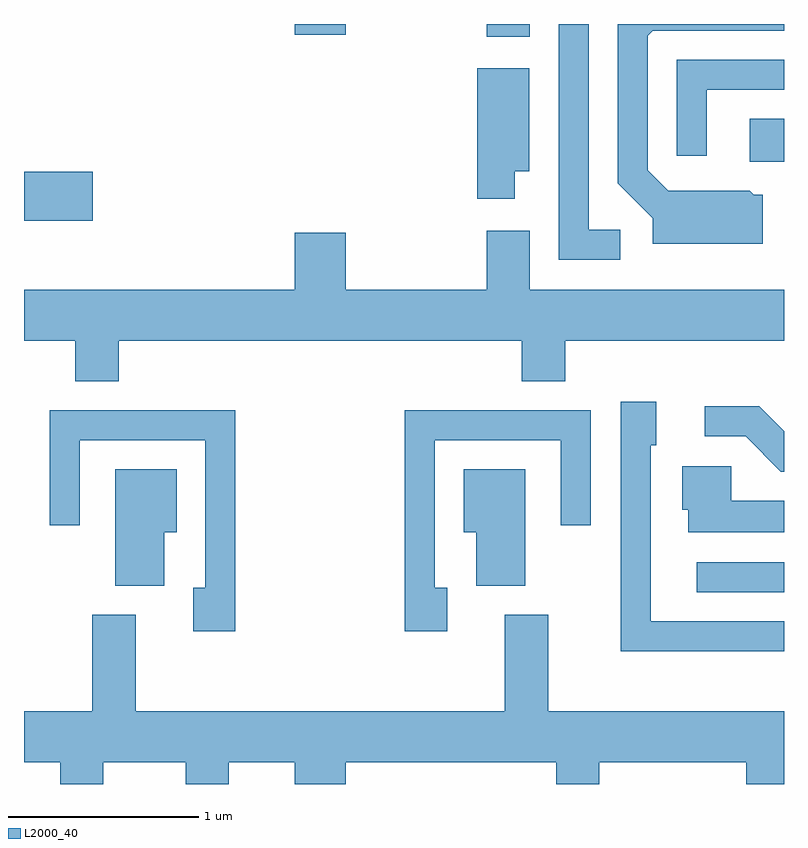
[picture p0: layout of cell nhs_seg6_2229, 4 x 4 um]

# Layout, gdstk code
import gdstk
lib = gdstk.Library(unit=1e-6, precision=1e-09)
def R(c, l, rs):  # rectangles x0, y0, x1, y1
    for r in rs: c.add(gdstk.rectangle(r[:2], r[2:], *l))
def P(c, l, *ps):  # polygons
    for p in ps: c.add(gdstk.Polygon(p, *l))
L2000_40 = (2000, 40)

nhs_seg6_2229 = lib.new_cell('nhs_seg6_2229')
R(nhs_seg6_2229, L2000_40, [(257.153,1533.171,257.611,1533.329), (253.611,1535.126,253.974,1535.384), (257.431,1535.436,257.611,1535.664), (256.046,1536.096,256.274,1536.162), (255.036,1536.106,255.304,1536.162)])
P(nhs_seg6_2229, L2000_40, [(257.499,1535.264),(257.452,1535.264),(257.432,1535.284),(257.002,1535.284),(256.894,1535.392),(256.894,1536.099),(256.921,1536.126),(257.611,1536.126),(257.611,1536.162),(256.736,1536.162),(256.736,1535.324),(256.921,1535.139),(256.921,1535.006),(257.499,1535.006)],
  [(256.748,1535.079),(256.584,1535.079),(256.584,1536.162),(256.426,1536.162),(256.426,1534.921),(256.748,1534.921)],
  [(257.204,1535.816),(257.611,1535.816),(257.611,1535.974),(257.046,1535.974),(257.046,1535.468),(257.204,1535.468)],
  [(256.194,1535.386),(256.269,1535.386),(256.269,1535.929),(255.996,1535.929),(255.996,1535.241),(256.194,1535.241)],
  [(254.109,1534.496),(256.231,1534.496),(256.231,1534.281),(256.459,1534.281),(256.459,1534.496),(257.611,1534.496),(257.611,1534.764),(256.274,1534.764),(256.274,1535.074),(256.046,1535.074),(256.046,1534.764),(255.304,1534.764),(255.304,1535.064),(255.036,1535.064),(255.036,1534.764),(253.611,1534.764),(253.611,1534.496),(253.881,1534.496),(253.881,1534.281),(254.109,1534.281)],
  [(257.611,1533.019),(256.909,1533.019),(256.909,1533.946),(256.939,1533.946),(256.939,1534.174),(256.751,1534.174),(256.751,1532.861),(257.611,1532.861)],
  [(257.611,1534.019),(257.481,1534.149),(257.193,1534.149),(257.193,1533.991),(257.409,1533.991),(257.594,1533.806),(257.611,1533.806)],
  [(254.724,1534.129),(253.746,1534.129),(253.746,1533.523),(253.904,1533.523),(253.904,1533.971),(254.566,1533.971),(254.566,1533.194),(254.501,1533.194),(254.501,1532.966),(254.724,1532.966)],
  [(255.839,1533.194),(255.774,1533.194),(255.774,1533.971),(256.436,1533.971),(256.436,1533.523),(256.594,1533.523),(256.594,1534.129),(255.616,1534.129),(255.616,1532.966),(255.839,1532.966)],
  [(257.611,1533.654),(257.334,1533.654),(257.334,1533.834),(257.076,1533.834),(257.076,1533.606),(257.106,1533.606),(257.106,1533.486),(257.611,1533.486)],
  [(254.349,1533.486),(254.414,1533.486),(254.414,1533.819),(254.091,1533.819),(254.091,1533.206),(254.349,1533.206)],
  [(256.249,1533.819),(255.926,1533.819),(255.926,1533.486),(255.991,1533.486),(255.991,1533.206),(256.249,1533.206)],
  [(254.029,1532.276),(254.461,1532.276),(254.461,1532.162),(254.689,1532.162),(254.689,1532.276),(255.036,1532.276),(255.036,1532.162),(255.304,1532.162),(255.304,1532.276),(256.411,1532.276),(256.411,1532.162),(256.639,1532.162),(256.639,1532.276),(257.411,1532.276),(257.411,1532.162),(257.611,1532.162),(257.611,1532.544),(256.369,1532.544),(256.369,1533.054),(256.141,1533.054),(256.141,1532.544),(254.199,1532.544),(254.199,1533.054),(253.971,1533.054),(253.971,1532.544),(253.611,1532.544),(253.611,1532.276),(253.801,1532.276),(253.801,1532.162),(254.029,1532.162)])

lib.write_gds('nhs_seg6_2229.gds')
